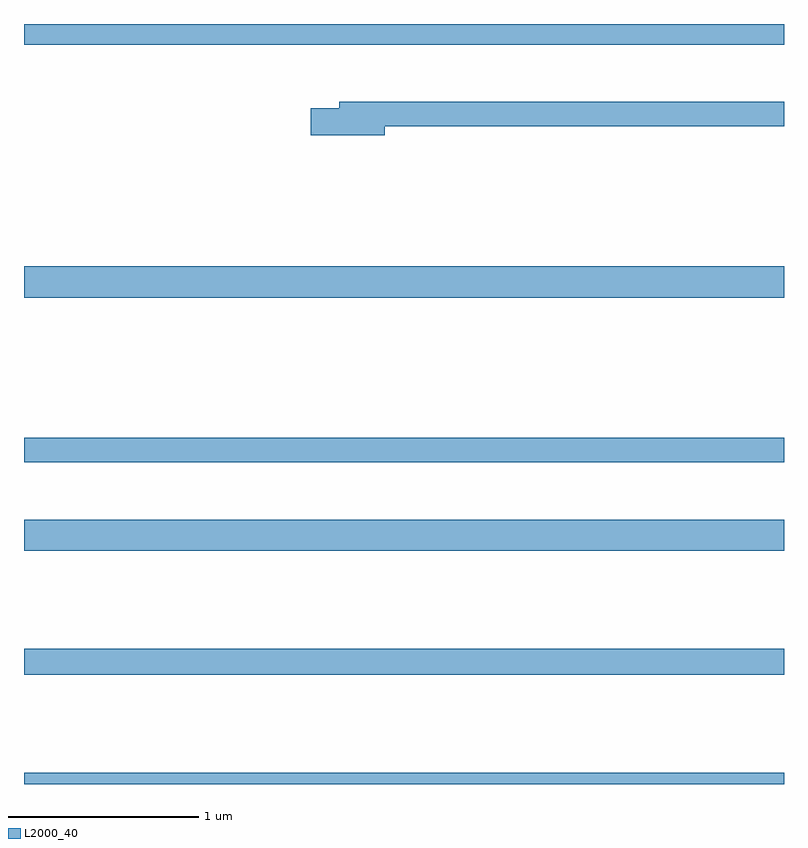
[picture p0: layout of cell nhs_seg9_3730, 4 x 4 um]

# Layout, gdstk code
import gdstk
lib = gdstk.Library(unit=1e-6, precision=1e-09)
def R(c, l, rs):  # rectangles x0, y0, x1, y1
    for r in rs: c.add(gdstk.rectangle(r[:2], r[2:], *l))
def P(c, l, *ps):  # polygons
    for p in ps: c.add(gdstk.Polygon(p, *l))
L2000_40 = (2000, 40)

nhs_seg9_3730 = lib.new_cell('nhs_seg9_3730')
R(nhs_seg9_3730, L2000_40, [(323,1220.5,327,1220.56), (323,1221.076,327,1221.212), (323,1221.728,327,1221.892), (323,1222.194,327,1222.322), (323,1223.06,327,1223.224), (323,1224.392,327,1224.5)])
P(nhs_seg9_3730, L2000_40, [(324.898,1223.962),(327,1223.962),(327,1224.091),(324.659,1224.091),(324.659,1224.057),(324.51,1224.057),(324.51,1223.915),(324.898,1223.915)])

lib.write_gds('nhs_seg9_3730.gds')
